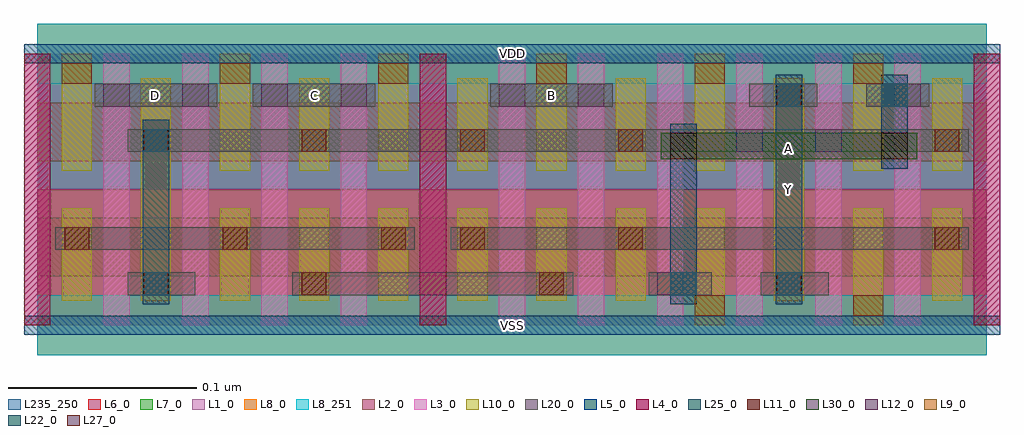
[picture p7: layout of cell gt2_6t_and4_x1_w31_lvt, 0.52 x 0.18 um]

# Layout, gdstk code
import gdstk
lib = gdstk.Library(unit=1e-6, precision=5e-10)
def R(c, l, rs):  # rectangles x0, y0, x1, y1
    for r in rs: c.add(gdstk.rectangle(r[:2], r[2:], *l))
def A(c, l, x, y, w, h, nx, ny, dx, dy):  # array of equal rectangles
    R(c, l, [(x+i*dx, y+j*dy, x+i*dx+w, y+j*dy+h) for i in range(nx) for j in range(ny)])
L1_0 = (1, 0)
L2_0 = (2, 0)
L3_0 = (3, 0)
L4_0 = (4, 0)
L5_0 = (5, 0)
L6_0 = (6, 0)
L7_0 = (7, 0)
L8_0 = (8, 0)
L8_251 = (8, 251)
L9_0 = (9, 0)
L10_0 = (10, 0)
L11_0 = (11, 0)
L12_0 = (12, 0)
L20_0 = (20, 0)
L22_0 = (22, 0)
L25_0 = (25, 0)
L27_0 = (27, 0)
L30_0 = (30, 0)
L235_250 = (235, 250)

gt2_6t_and4_x1_w31_lvt = lib.new_cell('gt2_6t_and4_x1_w31_lvt')
R(gt2_6t_and4_x1_w31_lvt, L1_0, [(0,0.072,0.504,0.144)])
R(gt2_6t_and4_x1_w31_lvt, L2_0, [(0,0.026,0.504,0.057), (0,0.087,0.504,0.118)])
A(gt2_6t_and4_x1_w31_lvt, L3_0, -0.007, 0, 0.014, 0.144, 13, 1, 0.042, 0)
R(gt2_6t_and4_x1_w31_lvt, L4_0, [(-0.007,0,0.007,0.144), (0.203,0,0.217,0.144), (0.497,0,0.511,0.144)])
R(gt2_6t_and4_x1_w31_lvt, L5_0, [(-0.007,-0.005,0.511,0.005), (-0.007,0.139,0.511,0.149)])
R(gt2_6t_and4_x1_w31_lvt, L6_0, [(0,0,0.504,0.072)])
R(gt2_6t_and4_x1_w31_lvt, L7_0, [(0,0.072,0.504,0.144)])
R(gt2_6t_and4_x1_w31_lvt, L8_0, [(0,-0.016,0.504,0.016), (0,0.128,0.504,0.16)])
R(gt2_6t_and4_x1_w31_lvt, L8_251, [(0,-0.016,0.504,0.016), (0,0.128,0.504,0.16)])
A(gt2_6t_and4_x1_w31_lvt, L9_0, 0.013, 0.128, 0.016, 0.011, 6, 1, 0.084, 0)
R(gt2_6t_and4_x1_w31_lvt, L9_0, [(0.349,0.005,0.365,0.016), (0.433,0.005,0.449,0.016)])
A(gt2_6t_and4_x1_w31_lvt, L10_0, 0.097, 0.013, 0.016, 0.049, 6, 1, 0.042, 0)
A(gt2_6t_and4_x1_w31_lvt, L10_0, 0.013, 0.082, 0.016, 0.062, 6, 1, 0.084, 0)
A(gt2_6t_and4_x1_w31_lvt, L10_0, 0.139, 0.082, 0.016, 0.049, 3, 1, 0.084, 0)
R(gt2_6t_and4_x1_w31_lvt, L10_0, [(0.349,0,0.365,0.062), (0.433,0,0.449,0.062), (0.013,0.013,0.029,0.062), (0.055,0.013,0.071,0.131), (0.391,0.013,0.407,0.131), (0.475,0.013,0.491,0.062), (0.475,0.082,0.491,0.131)])
A(gt2_6t_and4_x1_w31_lvt, L11_0, 0.1405, 0.016, 0.013, 0.012, 3, 1, 0.126, 0)
A(gt2_6t_and4_x1_w31_lvt, L11_0, 0.0145, 0.04, 0.013, 0.012, 3, 1, 0.084, 0)
A(gt2_6t_and4_x1_w31_lvt, L11_0, 0.0565, 0.092, 0.013, 0.012, 4, 1, 0.084, 0)
R(gt2_6t_and4_x1_w31_lvt, L11_0, [(0.0565,0.016,0.0695,0.028), (0.2245,0.04,0.2375,0.052), (0.3085,0.04,0.3215,0.052), (0.4765,0.04,0.4895,0.052), (0.4765,0.092,0.4895,0.104), (0.3925,0.116,0.4055,0.128)])
A(gt2_6t_and4_x1_w31_lvt, L12_0, 0.035, 0.116, 0.014, 0.012, 4, 1, 0.042, 0)
R(gt2_6t_and4_x1_w31_lvt, L12_0, [(0.329,0.016,0.343,0.028), (0.371,0.092,0.385,0.104), (0.413,0.092,0.427,0.104), (0.245,0.116,0.259,0.128), (0.287,0.116,0.301,0.128), (0.455,0.116,0.469,0.128)])
R(gt2_6t_and4_x1_w31_lvt, L20_0, [(0.048,0.016,0.084,0.028), (0.1355,0.016,0.2845,0.028), (0.3245,0.016,0.358,0.028), (0.384,0.016,0.42,0.028), (0.0095,0.04,0.2005,0.052), (0.2195,0.04,0.4945,0.052), (0.048,0.092,0.4945,0.104), (0.0305,0.116,0.0955,0.128), (0.1145,0.116,0.1795,0.128), (0.2405,0.116,0.3055,0.128), (0.378,0.116,0.414,0.128), (0.44,0.116,0.4735,0.128)])
R(gt2_6t_and4_x1_w31_lvt, L22_0, [(0.056,0.016,0.07,0.028), (0.336,0.016,0.35,0.028), (0.392,0.016,0.406,0.028), (0.056,0.092,0.07,0.104), (0.392,0.116,0.406,0.128), (0.448,0.116,0.462,0.128)])
R(gt2_6t_and4_x1_w31_lvt, L25_0, [(0.056,0.011,0.07,0.109), (0.336,0.011,0.35,0.107), (0.392,0.011,0.406,0.133), (0.448,0.083,0.462,0.133)])
R(gt2_6t_and4_x1_w31_lvt, L27_0, [(0.336,0.088,0.35,0.102), (0.448,0.088,0.462,0.102)])
R(gt2_6t_and4_x1_w31_lvt, L30_0, [(0.331,0.088,0.467,0.102)])
R(gt2_6t_and4_x1_w31_lvt, L235_250, [(0,0,0.504,0.144)])
gt2_6t_and4_x1_w31_lvt.add(gdstk.Label('VSS', (0.252,0), layer=8, texttype=251))
gt2_6t_and4_x1_w31_lvt.add(gdstk.Label('VDD', (0.252,0.144), layer=8, texttype=251))
gt2_6t_and4_x1_w31_lvt.add(gdstk.Label('C', (0.147,0.122), layer=20, texttype=251))
gt2_6t_and4_x1_w31_lvt.add(gdstk.Label('D', (0.063,0.122), layer=20, texttype=251))
gt2_6t_and4_x1_w31_lvt.add(gdstk.Label('B', (0.273,0.122), layer=20, texttype=251))
gt2_6t_and4_x1_w31_lvt.add(gdstk.Label('A', (0.399,0.094), layer=30, texttype=251))
gt2_6t_and4_x1_w31_lvt.add(gdstk.Label('Y', (0.399,0.072), layer=25, texttype=251))

lib.write_gds('gt2_6t_and4_x1_w31_lvt.gds')
